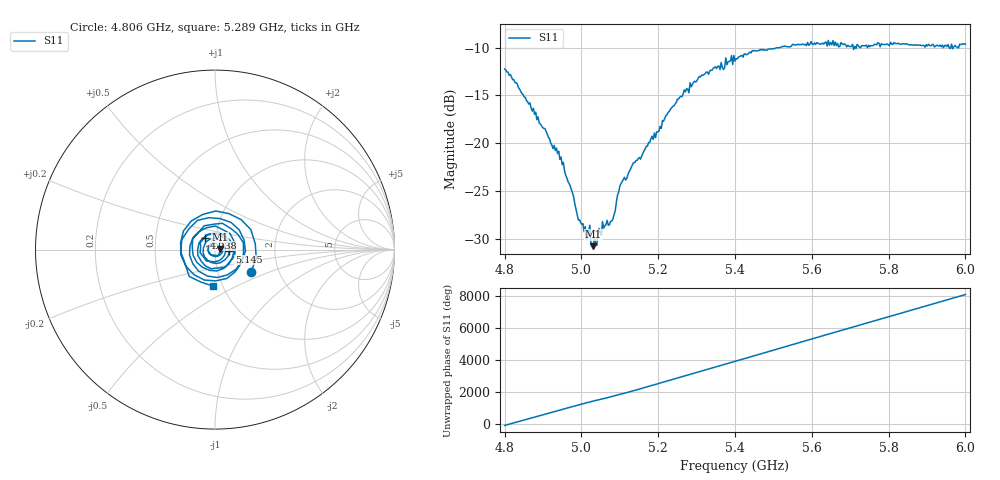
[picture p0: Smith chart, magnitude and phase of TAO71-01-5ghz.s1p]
! NanoVNA-App
! Date: 2026-05-22 23:29:02
! Start: 4.8GHz Stop: 6GHz Points: 401
! S-Parameter data: F S11
# Hz S RI R 50
!  Frequency  S11_Real  S11_Imag
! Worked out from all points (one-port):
!   401 points, 4.8 GHz to 6 GHz, reference 50 ohm
!   lowest |S11| = -30.8 dB at 5.031 GHz (marker M1), VSWR 1.06, Z = 52.9 + j0.448 ohm
!   |S11| at or under -10 dB: start of sweep to 5.51 GHz; 5.511486 GHz to 5.516292 GHz (4.805 MHz wide, 0.0872 % of centre); 5.957775 GHz to 5.96163 GHz (3.855 MHz wide, 0.0647 % of centre)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
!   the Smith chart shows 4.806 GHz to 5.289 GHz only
!   S11 on the Smith chart (normalised r, x): 4.806 GHz: 1.44, -0.38; 4.938 GHz: 0.88, +0.12; 5.145 GHz: 1.18, -0.02; 5.289 GHz: 0.90, -0.38
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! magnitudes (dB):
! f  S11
! 4.8 GHz  -12.2
! 4.806 GHz  -12.5
! 4.869 GHz  -16.3
! 4.938 GHz  -21.1
! 4.95 GHz  -22.2
! 4.974 GHz  -24.9
! 4.995 GHz  -28.0
! 5.031 GHz  -30.8
! 5.061 GHz  -28.6
! 5.079 GHz  -28.1
! 5.085 GHz  -27.5
! 5.1 GHz  -24.5
! 5.106 GHz  -24.0
! 5.145 GHz  -21.8
! 5.199 GHz  -18.8
! 5.217 GHz  -17.4
! 5.25 GHz  -15.4
! 5.289 GHz  -13.8
! 5.343 GHz  -12.2
! 5.367 GHz  -12.1
! 5.4 GHz  -11.4
! 5.451 GHz  -10.3
! 5.55 GHz  -9.7
! 5.649 GHz  -9.5
! 5.7 GHz  -9.9
! 5.85 GHz  -9.7
! 5.964 GHz  -9.6
! 6 GHz  -9.6
